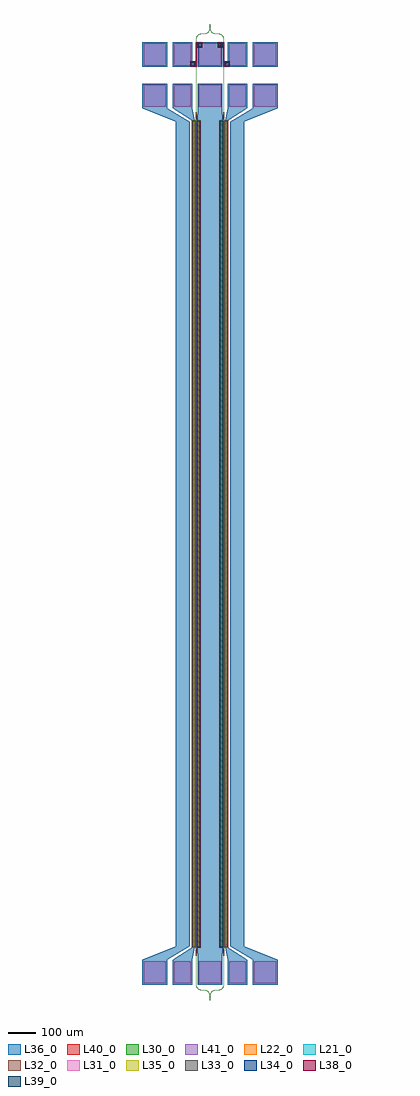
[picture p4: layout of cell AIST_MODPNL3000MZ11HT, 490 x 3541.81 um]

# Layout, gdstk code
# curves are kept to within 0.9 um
import gdstk
lib = gdstk.Library(unit=1e-6, precision=1e-09)
def R(c, l, rs):  # rectangles x0, y0, x1, y1
    for r in rs: c.add(gdstk.rectangle(r[:2], r[2:], *l))
def A(c, l, x, y, w, h, nx, ny, dx, dy):  # array of equal rectangles
    R(c, l, [(x+i*dx, y+j*dy, x+i*dx+w, y+j*dy+h) for i in range(nx) for j in range(ny)])
def P(c, l, *ps):  # polygons
    for p in ps: c.add(gdstk.Polygon(p, *l))
L21_0 = (21, 0)
L22_0 = (22, 0)
L30_0 = (30, 0)
L31_0 = (31, 0)
L32_0 = (32, 0)
L33_0 = (33, 0)
L34_0 = (34, 0)
L35_0 = (35, 0)
L36_0 = (36, 0)
L38_0 = (38, 0)
L39_0 = (39, 0)
L40_0 = (40, 0)
L41_0 = (41, 0)

aist_modpnl3000mz11ht = lib.new_cell('AIST_MODPNL3000MZ11HT')
R(aist_modpnl3000mz11ht, L21_0, [(-64.5,229.15,-49.85,3229.65), (49.85,229.15,64.5,3229.65)])
R(aist_modpnl3000mz11ht, L22_0, [(-50.15,228.9,-35.5,3229.9), (35.5,228.9,50.15,3229.9)])
P(aist_modpnl3000mz11ht, L30_0, [(-0.22,38.696),(-1.19,58.454),(-6.563,68.387),(-16.026,73.656),(-32.156,74.295),(-38.453,76.031),(-45.041,80.886),(-49.165,87.954),(-50.219,94.16),(-51,228.4),(-65,228.4),(-65,3230.4),(-51,3230.4),(-49.871,3528.539),(-46.062,3537.083),(-39.03,3542.892),(-32.394,3544.878),(-16.182,3545.508),(-7.74,3549.728),(-1.984,3557.976),(-0.095,3570.576),(-1.285,3558.658),(-6.858,3549.921),(-15.873,3545.128),(-32.635,3544.404),(-39.867,3541.943),(-47.063,3534.805),(-49.779,3525.04),(-49,3230.4),(-35,3230.4),(-35,228.4),(-49,228.4),(-49.77,93.759),(-46.899,84.12),(-39.728,77.177),(-32.635,74.796),(-15.873,74.072),(-6.917,69.333),(-1.385,60.846),(-0.095,48.624),(1.516,61.224),(7.519,69.861),(16.106,74.126),(32.158,74.738),(38.808,76.689),(45.725,82.4),(49.453,90.816),(49,228.4),(35,228.4),(35,3230.4),(49,3230.4),(49.779,3525.04),(47.063,3534.805),(40.005,3541.863),(32.635,3544.404),(15.175,3545.307),(5.509,3551.286),(1.411,3558.278),(0.095,3570.576),(-1.105,3570.576),(0.22,3580.504),(1.174,3560.823),(6.283,3551.099),(15.715,3545.62),(32.394,3544.878),(39.315,3542.747),(46.302,3536.763),(49.886,3528.46),(51,3230.4),(65,3230.4),(65,228.4),(51,228.4),(50.219,94.16),(49.139,87.878),(45.041,80.886),(38.453,76.031),(32.156,74.295),(16.026,73.656),(6.563,68.387),(1.258,58.768)])
R(aist_modpnl3000mz11ht, L31_0, [(-64.5,228.9,-50,3229.9), (50,228.9,64.5,3229.9)])
R(aist_modpnl3000mz11ht, L32_0, [(-50,228.9,-35.5,3229.9), (35.5,228.9,50,3229.9)])
R(aist_modpnl3000mz11ht, L33_0, [(-64.5,229.4,-51.15,3229.4), (51.15,229.4,64.5,3229.4)])
R(aist_modpnl3000mz11ht, L34_0, [(-48.85,229.4,-35.5,3229.4), (35.5,229.4,48.85,3229.4)])
R(aist_modpnl3000mz11ht, L35_0, [(-63,230.4,-56,3228.4), (-44,230.4,-37,3228.4), (37,230.4,44,3228.4), (56,230.4,63,3228.4)])
A(aist_modpnl3000mz11ht, L36_0, -245, 94.4, 90, 90, 3, 2, 200, 3180)
A(aist_modpnl3000mz11ht, L36_0, -245, 3424.8, 90, 90, 3, 1, 200, 0)
R(aist_modpnl3000mz11ht, L36_0, [(-245,94.4,-155,184.4), (-135,94.4,-65,184.4), (65,94.4,135,184.4), (-64.5,229.4,-54.5,3229.4), (-45.5,229.4,45.5,3229.4), (54.5,229.4,64.5,3229.4), (-123.5,233.4,-73.5,3225.4), (73.5,233.4,123.5,3225.4), (-135,3274.4,-65,3364.4), (65,3274.4,135,3364.4), (-135,3424.8,-65,3514.8), (-72.5,3424.8,-52.5,3444.8), (-72.5,3424.8,-52.5,3444.8), (52.5,3424.8,72.5,3444.8), (52.5,3424.8,72.5,3444.8), (65,3424.8,135,3514.8), (-47.5,3494.8,-27.5,3514.8), (-47.5,3494.8,-27.5,3514.8), (27.5,3494.8,47.5,3514.8), (27.5,3494.8,47.5,3514.8)])
P(aist_modpnl3000mz11ht, L36_0, [(-123.5,3225.4),(-245,3274.4),(-155,3274.4),(-73.5,3225.4)],
  [(-64.5,3229.4),(-135,3274.4),(-65,3274.4),(-54.5,3229.4)],
  [(-45.5,3229.4),(-45,3274.4),(45,3274.4),(45.5,3229.4)],
  [(54.5,3229.4),(65,3274.4),(135,3274.4),(64.5,3229.4)],
  [(73.5,3225.4),(155,3274.4),(245,3274.4),(123.5,3225.4)],
  [(-135,184.4),(-64.5,229.4),(-54.5,229.4),(-65,184.4)],
  [(-45,184.4),(-45.5,229.4),(45.5,229.4),(45,184.4)],
  [(65,184.4),(54.5,229.4),(64.5,229.4),(135,184.4)],
  [(155,184.4),(73.5,233.4),(123.5,233.4),(245,184.4)],
  [(-245,184.4),(-123.5,233.4),(-73.5,233.4),(-155,184.4)])
R(aist_modpnl3000mz11ht, L38_0, [(-72.5,3424.8,-52.5,3444.8), (-52.5,3424.8,-47.5,3514.8), (47.5,3424.8,52.5,3514.8), (52.5,3424.8,72.5,3444.8), (-47.5,3494.8,-27.5,3514.8), (27.5,3494.8,47.5,3514.8)])
R(aist_modpnl3000mz11ht, L39_0, [(-69.5,3427.8,-55.5,3441.8), (55.5,3427.8,69.5,3441.8), (-44.5,3497.8,-30.5,3511.8), (30.5,3497.8,44.5,3511.8)])
P(aist_modpnl3000mz11ht, L40_0, [(48.78,198.4),(48.695,208.4),(48,227.4),(34,227.4),(34,3231.4),(48,3231.4),(48.695,3250.4),(48.78,3260.4),(49.695,3260.4),(49.695,198.4)],
  [(50.305,198.4),(50.305,3260.4),(51.22,3260.4),(51.305,3250.4),(52,3231.4),(66,3231.4),(66,227.4),(52,227.4),(51.305,208.4),(51.22,198.4)],
  [(-51.22,198.4),(-51.305,208.4),(-52,227.4),(-66,227.4),(-66,3231.4),(-52,3231.4),(-51.305,3250.4),(-51.22,3260.4),(-50.305,3260.4),(-50.305,198.4)],
  [(-49.695,198.4),(-49.695,3260.4),(-48.78,3260.4),(-48.695,3250.4),(-48,3231.4),(-34,3231.4),(-34,227.4),(-48,227.4),(-48.695,208.4),(-48.78,198.4)])
A(aist_modpnl3000mz11ht, L41_0, -240, 99.4, 80, 80, 3, 2, 200, 3180)
A(aist_modpnl3000mz11ht, L41_0, -240, 3429.8, 80, 80, 3, 1, 200, 0)
R(aist_modpnl3000mz11ht, L41_0, [(-240,99.4,-160,179.4), (-130,99.4,-70,179.4), (70,99.4,130,179.4), (-130,3279.4,-70,3359.4), (70,3279.4,130,3359.4), (-130,3429.8,-70,3509.8), (70,3429.8,130,3509.8)])

lib.write_gds('AIST_MODPNL3000MZ11HT.gds')
